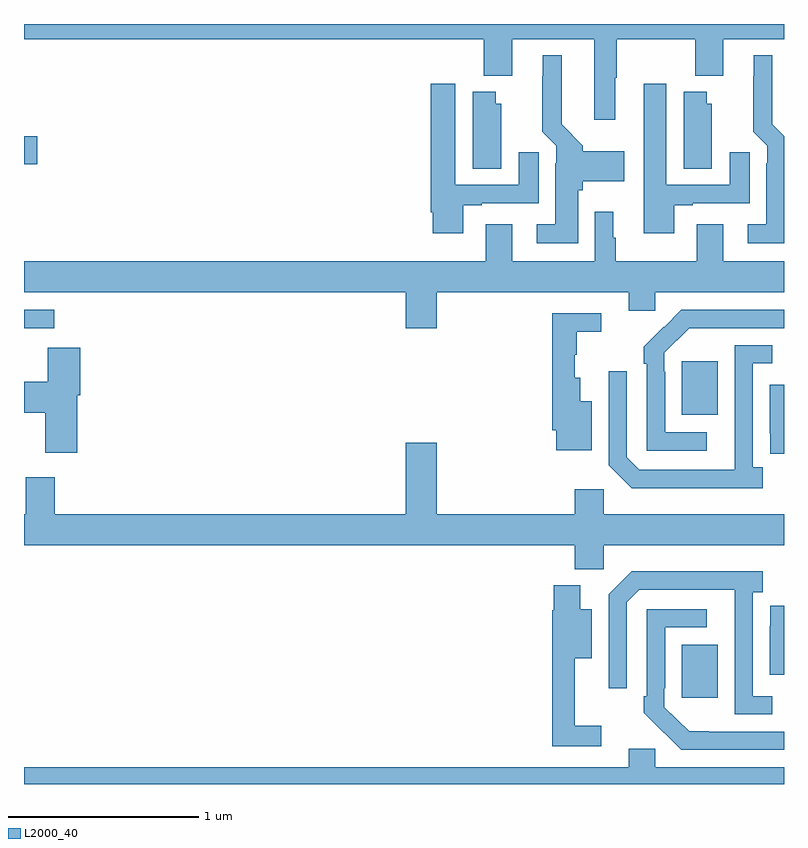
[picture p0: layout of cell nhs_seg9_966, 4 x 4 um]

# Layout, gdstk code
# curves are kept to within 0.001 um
import gdstk
lib = gdstk.Library(unit=1e-6, precision=1e-09)
def R(c, l, rs):  # rectangles x0, y0, x1, y1
    for r in rs: c.add(gdstk.rectangle(r[:2], r[2:], *l))
def P(c, l, *ps):  # polygons
    for p in ps: c.add(gdstk.Polygon(p, *l))
L2000_40 = (2000, 40)

nhs_seg9_966 = lib.new_cell('nhs_seg9_966')
R(nhs_seg9_966, L2000_40, [(166.463,1192.953,166.651,1193.233), (166.463,1194.443,166.651,1194.724), (163,1194.9,163.159,1194.996), (163,1195.763,163.069,1195.91)])
P(nhs_seg9_966, L2000_40, [(166.111,1196.216),(166.119,1196.216),(166.119,1196.42),(166.534,1196.42),(166.534,1196.228),(166.681,1196.228),(166.681,1196.42),(167,1196.42),(167,1196.5),(163,1196.5),(163,1196.42),(165.419,1196.42),(165.419,1196.228),(165.571,1196.228),(165.571,1196.42),(166.001,1196.42),(166.001,1195.995),(166.111,1195.995)],
  [(165.916,1195.626),(165.942,1195.626),(165.942,1195.673),(166.159,1195.673),(166.159,1195.831),(165.942,1195.831),(165.942,1195.859),(165.829,1195.972),(165.829,1196.335),(165.731,1196.335),(165.731,1196.225),(165.727,1196.225),(165.727,1195.934),(165.801,1195.86),(165.801,1195.766),(165.797,1195.766),(165.797,1195.447),(165.699,1195.447),(165.699,1195.346),(165.916,1195.346)],
  [(167,1195.91),(166.939,1195.972),(166.939,1196.335),(166.841,1196.335),(166.841,1196.225),(166.837,1196.225),(166.837,1195.934),(166.911,1195.86),(166.911,1195.766),(166.907,1195.766),(166.907,1195.447),(166.809,1195.447),(166.809,1195.346),(167,1195.346)],
  [(166.423,1195.545),(166.519,1195.545),(166.519,1195.557),(166.819,1195.557),(166.819,1195.825),(166.715,1195.825),(166.715,1195.653),(166.381,1195.653),(166.381,1196.185),(166.262,1196.185),(166.262,1195.398),(166.423,1195.398)],
  [(165.313,1195.545),(165.409,1195.545),(165.409,1195.557),(165.709,1195.557),(165.709,1195.825),(165.605,1195.825),(165.605,1195.653),(165.271,1195.653),(165.271,1196.185),(165.14,1196.185),(165.14,1195.51),(165.152,1195.51),(165.152,1195.398),(165.313,1195.398)],
  [(166.621,1196.079),(166.594,1196.079),(166.594,1196.143),(166.472,1196.143),(166.472,1195.738),(166.621,1195.738)],
  [(165.511,1196.079),(165.484,1196.079),(165.484,1196.143),(165.362,1196.143),(165.362,1195.738),(165.511,1195.738)],
  [(165.172,1195.088),(166.184,1195.088),(166.184,1194.99),(166.323,1194.99),(166.323,1195.088),(167,1195.088),(167,1195.252),(166.681,1195.252),(166.681,1195.447),(166.541,1195.447),(166.541,1195.252),(166.114,1195.252),(166.114,1195.374),(166.102,1195.374),(166.102,1195.513),(166.005,1195.513),(166.005,1195.252),(165.571,1195.252),(165.571,1195.447),(165.431,1195.447),(165.431,1195.252),(163,1195.252),(163,1195.088),(165.008,1195.088),(165.008,1194.9),(165.172,1194.9)],
  [(166.594,1194.351),(166.374,1194.351),(166.374,1194.671),(166.371,1194.671),(166.371,1194.771),(166.5,1194.9),(167,1194.9),(167,1194.996),(166.46,1194.996),(166.263,1194.801),(166.263,1194.713),(166.278,1194.713),(166.278,1194.255),(166.594,1194.255)],
  [(165.988,1194.514),(165.928,1194.514),(165.928,1194.637),(165.899,1194.637),(165.899,1194.759),(165.91,1194.759),(165.91,1194.88),(166.039,1194.88),(166.039,1194.978),(165.781,1194.978),(165.781,1194.361),(165.8,1194.361),(165.8,1194.257),(165.988,1194.257)],
  [(166.888,1194.166),(166.836,1194.166),(166.836,1194.714),(166.939,1194.714),(166.939,1194.81),(166.74,1194.81),(166.74,1194.153),(166.239,1194.153),(166.173,1194.219),(166.173,1194.673),(166.077,1194.673),(166.077,1194.177),(166.198,1194.056),(166.888,1194.056)],
  [(163.28,1194.547),(163.295,1194.547),(163.295,1194.796),(163.124,1194.796),(163.124,1194.616),(163,1194.616),(163,1194.454),(163.112,1194.454),(163.112,1194.243),(163.28,1194.243)],
  [(167,1194.601),(166.926,1194.601),(166.926,1194.346),(166.927,1194.346),(166.927,1194.237),(167,1194.237)],
  [(166.05,1193.756),(167,1193.756),(167,1193.92),(166.05,1193.92),(166.05,1194.052),(165.899,1194.052),(165.899,1193.92),(165.172,1193.92),(165.172,1194.295),(165.008,1194.295),(165.008,1193.92),(163.163,1193.92),(163.163,1194.115),(163.01,1194.115),(163.01,1193.92),(163,1193.92),(163,1193.756),(165.899,1193.756),(165.899,1193.63),(166.05,1193.63)],
  [(166.939,1192.962),(166.836,1192.962),(166.836,1193.51),(166.888,1193.51),(166.888,1193.62),(166.198,1193.62),(166.077,1193.499),(166.077,1193.004),(166.173,1193.004),(166.173,1193.457),(166.239,1193.523),(166.74,1193.523),(166.74,1192.866),(166.939,1192.866)],
  [(166.039,1192.807),(165.899,1192.807),(165.899,1193.162),(165.988,1193.162),(165.988,1193.419),(165.928,1193.419),(165.928,1193.545),(165.788,1193.545),(165.788,1193.415),(165.781,1193.415),(165.781,1192.698),(166.039,1192.698)],
  [(167,1193.439),(166.927,1193.439),(166.927,1193.33),(166.926,1193.33),(166.926,1193.076),(167,1193.076)],
  [(167,1192.776),(166.5,1192.777),(166.371,1192.905),(166.371,1193.005),(166.374,1193.005),(166.374,1193.325),(166.594,1193.325),(166.594,1193.421),(166.278,1193.421),(166.278,1192.963),(166.263,1192.963),(166.263,1192.875),(166.46,1192.68),(167,1192.68)],
  [(167,1192.588),(166.323,1192.588),(166.323,1192.686),(166.184,1192.686),(166.184,1192.588),(163,1192.588),(163,1192.5),(167,1192.5)])

lib.write_gds('nhs_seg9_966.gds')
